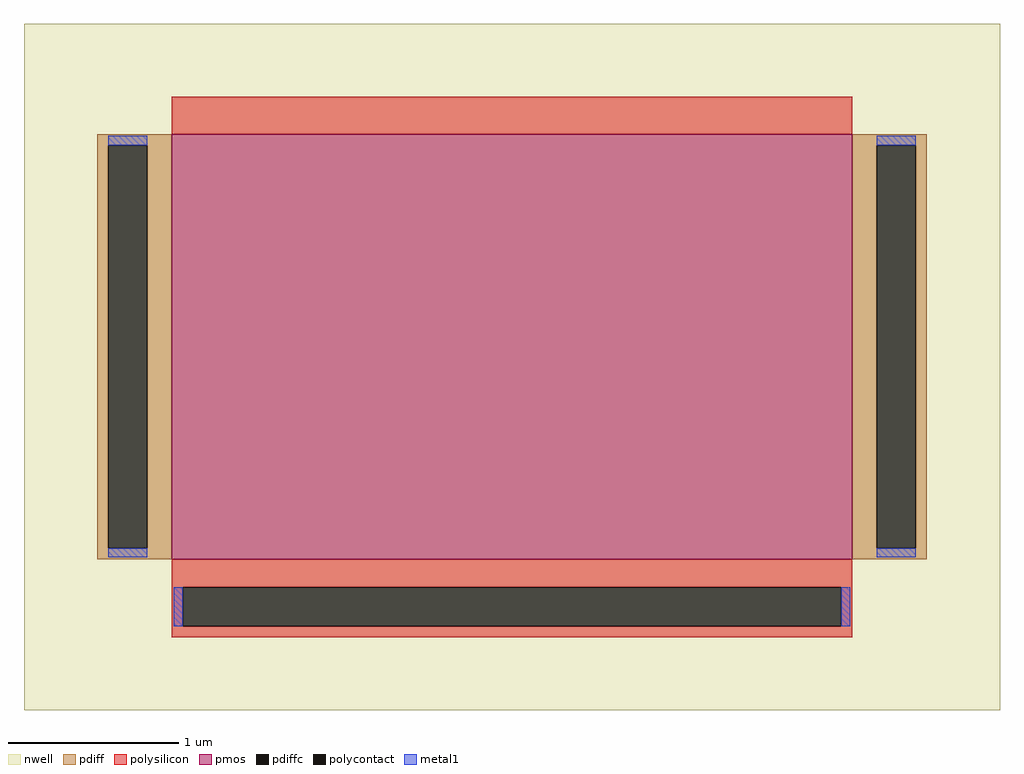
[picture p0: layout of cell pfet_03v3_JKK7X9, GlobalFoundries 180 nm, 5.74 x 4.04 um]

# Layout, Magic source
magic
tech gf180mcuD
magscale 1 10
<< nwell >>
rect -574 -404 574 404
<< pmos >>
rect -400 -226 400 274
<< pdiff >>
rect -488 261 -400 274
rect -488 -213 -475 261
rect -429 -213 -400 261
rect -488 -226 -400 -213
rect 400 261 488 274
rect 400 -213 429 261
rect 475 -213 488 261
rect 400 -226 488 -213
<< pdiffc >>
rect -475 -213 -429 261
rect 429 -213 475 261
<< polysilicon >>
rect -400 274 400 318
rect -400 -259 400 -226
rect -400 -305 -387 -259
rect 387 -305 400 -259
rect -400 -318 400 -305
<< polycontact >>
rect -387 -305 387 -259
<< metal1 >>
rect -475 261 -429 272
rect -475 -224 -429 -213
rect 429 261 475 272
rect 429 -224 475 -213
rect -398 -305 -387 -259
rect 387 -305 398 -259
<< properties >>
string gencell pfet_03v3
string library gf180mcu
string parameters w 2.5 l 4 m 1 nf 1 diffcov 100 polycov 100 guard 0 glc 0 grc 0 gtc 0 gbc 0 tbcov 100 rlcov 100 topc 0 botc 1 poverlap 0 doverlap 1 lmin 0.28 wmin 0.22 class mosfet full_metal 0 compatible {pfet_03v3 pfet_05v0 pfet_06v0}
<< end >>
